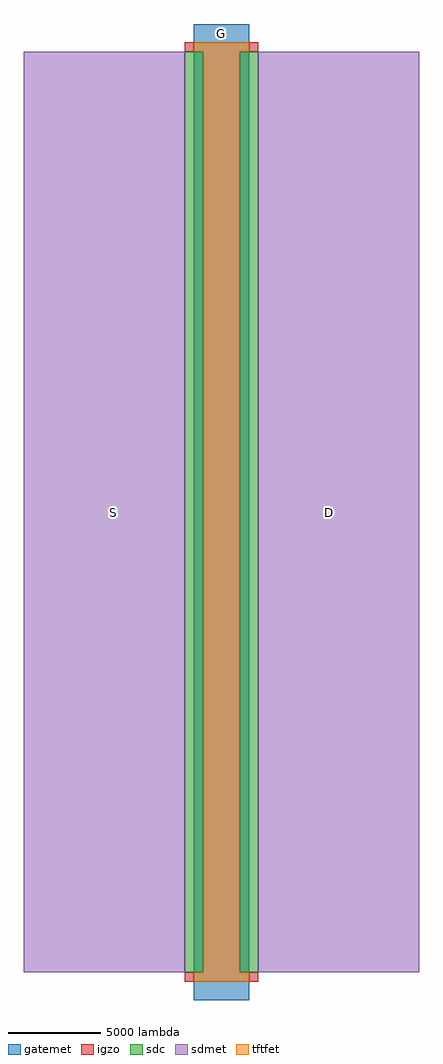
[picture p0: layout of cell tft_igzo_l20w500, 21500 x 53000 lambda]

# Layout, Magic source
magic
tech igzo_mmm_lab
<< igzo >>
rect -2000 25000 -1500 25500
rect 1500 25000 2000 25500
rect -2000 -25500 -1500 -25000
rect 1500 -25500 2000 -25000
<< tftfet >>
rect -1500 25000 1500 25500
rect -1000 -25000 1000 25000
rect -1500 -25500 1500 -25000
<< sdc >>
rect -2000 -25000 -1000 25000
rect 1000 -25000 2000 25000
<< sdmet >>
rect -10750 -25000 -2000 25000
rect 2000 -25000 10750 25000
<< gatemet >>
rect -1500 -26500 1500 26500
<< labels >>
rlabel sdmet s -6363 -488 -5387 488 4 S
port 3 nsew
rlabel sdmet s 5387 -488 6363 488 4 D
port 5 nsew
rlabel gatemet s -488 25512 488 26488 4 G
port 7 nsew
<< end >>
